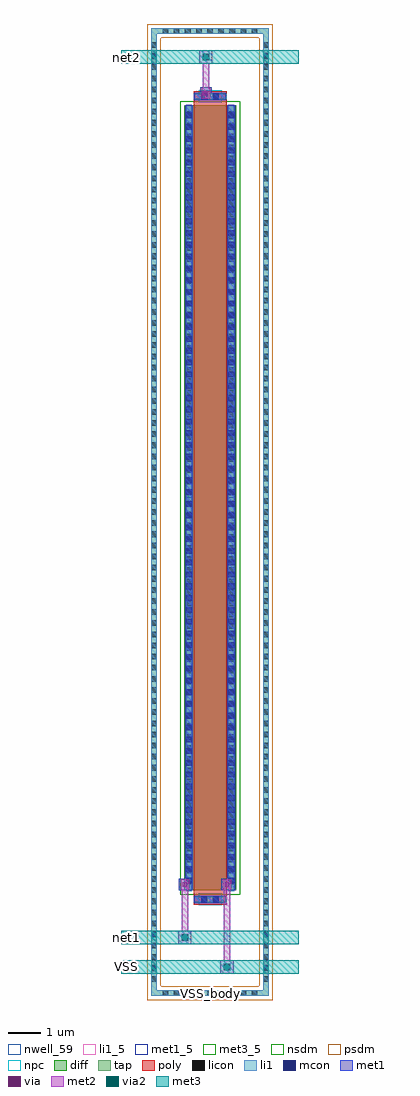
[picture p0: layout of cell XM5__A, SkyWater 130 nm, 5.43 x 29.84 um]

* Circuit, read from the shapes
.subckt XM5__A VSS VSS_body net1 net2
XM1 VSS net2 net1 VSS_body sky130_fd_pr__nfet_01v8 w=24 l=1
.ends

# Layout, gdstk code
import gdstk
lib = gdstk.Library(unit=1e-6, precision=1e-09)
def R(c, l, rs):  # rectangles x0, y0, x1, y1
    for r in rs: c.add(gdstk.rectangle(r[:2], r[2:], *l))
def A(c, l, x, y, w, h, nx, ny, dx, dy):  # array of equal rectangles
    R(c, l, [(x+i*dx, y+j*dy, x+i*dx+w, y+j*dy+h) for i in range(nx) for j in range(ny)])
nwell_59 = (64, 59)
diff = (65, 20)
tap = (65, 44)
poly = (66, 20)
licon = (66, 44)
li1_5 = (67, 5)
li1 = (67, 20)
mcon = (67, 44)
met1_5 = (68, 5)
met1 = (68, 20)
via = (68, 44)
met2 = (69, 20)
via2 = (69, 44)
met3_5 = (70, 5)
met3 = (70, 20)
nsdm = (93, 44)
psdm = (94, 20)
npc = (95, 20)

sky130_fd_pr__nfet_01v8_ = lib.new_cell('sky130_fd_pr__nfet_01v8_5VM7HL')
R(sky130_fd_pr__nfet_01v8_, diff, [(-0.79,-12,0.79,12)])
R(sky130_fd_pr__nfet_01v8_, poly, [(-0.5,-12.44,0.5,12.44)])
A(sky130_fd_pr__nfet_01v8_, licon, -0.73, -11.815, 0.17, 0.17, 1, 70, 0, 0.34)
A(sky130_fd_pr__nfet_01v8_, licon, 0.56, -11.815, 0.17, 0.17, 1, 70, 0, 0.34)
R(sky130_fd_pr__nfet_01v8_, licon, [(-0.255,-12.36,-0.085,-12.19), (0.085,-12.36,0.255,-12.19), (-0.255,12.19,-0.085,12.36), (0.085,12.19,0.255,12.36)])
R(sky130_fd_pr__nfet_01v8_, li1, [(-0.5,-12.36,0.5,-12.19), (-0.73,-12.02,-0.56,12.02), (0.56,-12.02,0.73,12.02), (-0.5,12.19,0.5,12.36)])
A(sky130_fd_pr__nfet_01v8_, mcon, -0.73, -11.785, 0.17, 0.17, 1, 66, 0, 0.36)
A(sky130_fd_pr__nfet_01v8_, mcon, 0.56, -11.785, 0.17, 0.17, 1, 66, 0, 0.36)
R(sky130_fd_pr__nfet_01v8_, mcon, [(-0.265,-12.36,-0.095,-12.19), (0.095,-12.36,0.265,-12.19), (-0.265,12.19,-0.095,12.36), (0.095,12.19,0.265,12.36)])
R(sky130_fd_pr__nfet_01v8_, met1, [(-0.48,-12.39,0.48,-12.16), (-0.76,-12,-0.53,12), (0.53,-12,0.76,12), (-0.48,12.16,0.48,12.39)])
R(sky130_fd_pr__nfet_01v8_, nsdm, [(-0.915,-12.125,0.915,12.125)])
R(sky130_fd_pr__nfet_01v8_, npc, [(-0.355,-12.46,0.355,-12.09), (-0.355,12.09,0.355,12.46)])
sky130_fd_pr__nfet_01v8_.add(gdstk.Label('D', (-0.645,0), layer=67, texttype=5))
sky130_fd_pr__nfet_01v8_.add(gdstk.Label('S', (0.645,0), layer=67, texttype=5))
sky130_fd_pr__nfet_01v8_.add(gdstk.Label('G', (0,12.275), layer=67, texttype=5))

nfet_01v8_w24_l1_m1__nf1 = lib.new_cell('nfet_01v8_W24_L1_m1__nf1_gboth_sdfull_ng')
R(nfet_01v8_w24_l1_m1__nf1, nwell_59, [(0.05,12.39,0.15,12.49)])
R(nfet_01v8_w24_l1_m1__nf1, met1_5, [(0.03,12.44,0.26,12.64), (1.32,12.44,1.55,12.64), (0.31,24.6,1.27,24.83)])
R(nfet_01v8_w24_l1_m1__nf1, met1, [(0.03,12.44,0.26,12.64), (1.32,12.44,1.55,12.64), (0.31,24.6,1.27,24.83)])
nfet_01v8_w24_l1_m1__nf1.add(gdstk.Reference(sky130_fd_pr__nfet_01v8_, (0.79,12.44)))
nfet_01v8_w24_l1_m1__nf1.add(gdstk.Label('D', (0.145,12.54), layer=68, texttype=5))
nfet_01v8_w24_l1_m1__nf1.add(gdstk.Label('S', (1.435,12.54), layer=68, texttype=5))
nfet_01v8_w24_l1_m1__nf1.add(gdstk.Label('G', (0.79,24.715), layer=68, texttype=5))
nfet_01v8_w24_l1_m1__nf1.add(gdstk.Label('B', (0.1,12.44), layer=64, texttype=59))

xm5__a = lib.new_cell('XM5__A')
R(xm5__a, tap, [(-0.885,-2.785,2.715,-2.615), (-0.885,-2.615,-0.715,26.635), (2.545,-2.615,2.715,26.635), (-0.885,26.635,2.715,26.805)])
A(xm5__a, licon, -0.53, -2.785, 0.17, 0.17, 9, 2, 0.34, 29.42)
A(xm5__a, licon, -0.885, -2.355, 0.17, 0.17, 1, 85, 0, 0.34)
A(xm5__a, licon, 2.545, -2.355, 0.17, 0.17, 1, 85, 0, 0.34)
R(xm5__a, li1_5, [(0.865,-2.75,0.965,-2.65)])
R(xm5__a, li1, [(-0.885,-2.785,2.715,-2.615), (-0.885,-2.615,-0.715,26.635), (2.545,-2.615,2.715,26.635), (-0.885,26.635,2.715,26.805)])
R(xm5__a, met1, [(-0.035,0.44,0.325,0.8), (1.255,0.44,1.615,0.8), (0.61,24.63,0.97,24.99)])
R(xm5__a, via, [(0.07,0.545,0.22,0.695), (1.36,0.545,1.51,0.695), (0.715,24.735,0.865,24.885)])
R(xm5__a, met2, [(1.235,-2.1,1.635,-1.7), (1.335,-1.7,1.535,0.46), (-0.055,-1.2,0.345,-0.8), (0.045,-0.8,0.245,0.46), (0.015,0.46,0.275,0.78), (1.305,0.46,1.565,0.78), (0.66,24.65,0.92,24.97), (0.69,24.97,0.89,25.72), (0.59,25.72,0.99,26.12)])
R(xm5__a, via2, [(1.335,-2,1.535,-1.8), (0.045,-1.1,0.245,-0.9), (0.69,25.82,0.89,26.02)])
R(xm5__a, met3_5, [(-1.7,-1.95,-1.6,-1.85), (-1.7,-1.05,-1.6,-0.95), (-1.7,25.87,-1.6,25.97)])
R(xm5__a, met3, [(-1.8,-2.1,3.63,-1.7), (-1.8,-1.2,3.63,-0.8), (-1.8,25.72,3.63,26.12)])
R(xm5__a, psdm, [(-1.01,-2.91,2.84,-2.49), (-1.01,-2.49,-0.59,26.51), (2.42,-2.49,2.84,26.51), (-1.01,26.51,2.84,26.93)])
xm5__a.add(gdstk.Reference(nfet_01v8_w24_l1_m1__nf1, (0.13,0)))
xm5__a.add(gdstk.Label('net2', (-1.65,25.92), layer=70, texttype=5))
xm5__a.add(gdstk.Label('net1', (-1.65,-1), layer=70, texttype=5))
xm5__a.add(gdstk.Label('VSS', (-1.65,-1.9), layer=70, texttype=5))
xm5__a.add(gdstk.Label('VSS_body', (0.915,-2.7), layer=67, texttype=5))

lib.write_gds('XM5__A.gds')
